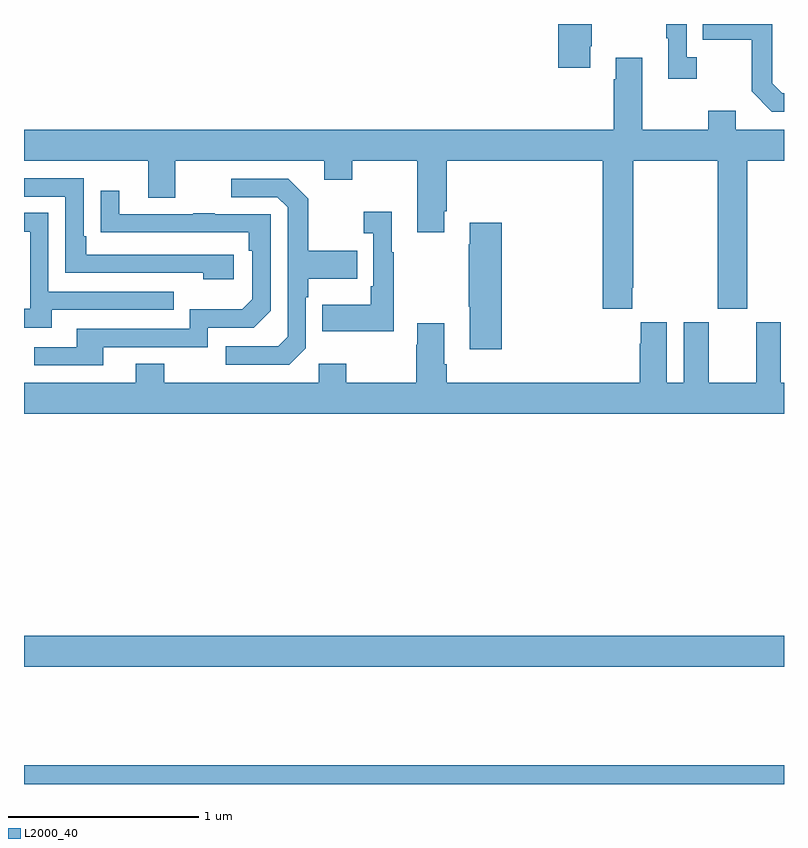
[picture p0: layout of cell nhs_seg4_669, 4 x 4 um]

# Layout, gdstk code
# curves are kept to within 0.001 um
import gdstk
lib = gdstk.Library(unit=1e-6, precision=1e-09)
def R(c, l, rs):  # rectangles x0, y0, x1, y1
    for r in rs: c.add(gdstk.rectangle(r[:2], r[2:], *l))
def P(c, l, *ps):  # polygons
    for p in ps: c.add(gdstk.Polygon(p, *l))
L2000_40 = (2000, 40)

nhs_seg4_669 = lib.new_cell('nhs_seg4_669')
R(nhs_seg4_669, L2000_40, [(145,766.9,149,767), (145,767.516,149,767.68)])
P(nhs_seg4_669, L2000_40, [(149,770.535),(148.992,770.535),(148.938,770.589),(148.938,770.9),(148.573,770.9),(148.573,770.818),(148.83,770.818),(148.83,770.545),(148.935,770.439),(149,770.439)],
  [(147.979,770.782),(147.987,770.782),(147.987,770.9),(147.812,770.9),(147.812,770.67),(147.979,770.67)],
  [(148.54,770.726),(148.488,770.726),(148.488,770.9),(148.38,770.9),(148.38,770.825),(148.391,770.825),(148.391,770.613),(148.54,770.613)],
  [(148.201,769.513),(148.206,769.513),(148.206,770.18),(148.651,770.18),(148.651,769.401),(148.806,769.401),(148.806,770.18),(149,770.18),(149,770.344),(148.747,770.344),(148.747,770.443),(148.6,770.443),(148.6,770.344),(148.255,770.344),(148.255,770.722),(148.115,770.722),(148.115,770.609),(148.103,770.609),(148.103,770.344),(145,770.344),(145,770.18),(145.655,770.18),(145.655,769.986),(145.795,769.986),(145.795,770.18),(146.579,770.18),(146.579,770.081),(146.727,770.081),(146.727,770.18),(147.071,770.18),(147.071,769.803),(147.211,769.803),(147.211,769.915),(147.224,769.915),(147.224,770.18),(148.046,770.18),(148.046,769.401),(148.201,769.401)],
  [(146.104,769.686),(145.327,769.686),(145.327,769.783),(145.314,769.783),(145.314,770.088),(145,770.088),(145,769.992),(145.218,769.992),(145.218,769.59),(145.943,769.59),(145.943,769.556),(146.104,769.556)],
  [(146.484,769.194),(146.484,769.463),(146.497,769.463),(146.497,769.559),(146.753,769.559),(146.753,769.707),(146.497,769.707),(146.497,769.979),(146.391,770.085),(146.091,770.085),(146.091,769.989),(146.334,769.989),(146.388,769.935),(146.388,769.254),(146.337,769.203),(146.061,769.203),(146.061,769.107),(146.397,769.107)],
  [(145.417,769.2),(145.968,769.2),(145.968,769.302),(146.208,769.302),(146.298,769.392),(146.298,769.899),(146.003,769.899),(146.003,769.904),(145.891,769.904),(145.891,769.899),(145.501,769.899),(145.501,770.023),(145.405,770.023),(145.405,769.804),(146.182,769.803),(146.182,769.706),(146.202,769.706),(146.202,769.452),(146.149,769.399),(145.872,769.399),(145.872,769.296),(145.277,769.296),(145.277,769.2),(145.053,769.2),(145.053,769.104),(145.417,769.104)],
  [(146.947,769.699),(146.935,769.699),(146.935,769.912),(146.787,769.912),(146.787,769.799),(146.838,769.799),(146.838,769.519),(146.826,769.519),(146.826,769.423),(146.569,769.423),(146.569,769.283),(146.947,769.283)],
  [(145.147,769.395),(145.787,769.395),(145.787,769.491),(145.128,769.491),(145.128,769.907),(145,769.907),(145,769.806),(145.032,769.806),(145.032,769.401),(145,769.401),(145,769.301),(145.147,769.301)],
  [(147.515,769.855),(147.347,769.855),(147.347,769.742),(147.34,769.742),(147.34,769.411),(147.347,769.411),(147.347,769.188),(147.515,769.188)],
  [(149,769.012),(148.984,769.012),(148.984,769.33),(148.853,769.33),(148.853,769.012),(148.603,769.012),(148.603,769.33),(148.472,769.33),(148.472,769.012),(148.384,769.012),(148.384,769.33),(148.247,769.33),(148.247,769.217),(148.241,769.217),(148.241,769.012),(147.224,769.012),(147.224,769.108),(147.211,769.108),(147.211,769.324),(147.071,769.324),(147.071,769.211),(147.064,769.211),(147.064,769.012),(146.697,769.012),(146.697,769.111),(146.55,769.111),(146.55,769.012),(145.737,769.012),(145.737,769.111),(145.589,769.111),(145.589,769.012),(145,769.012),(145,768.848),(149,768.848)])

lib.write_gds('nhs_seg4_669.gds')
